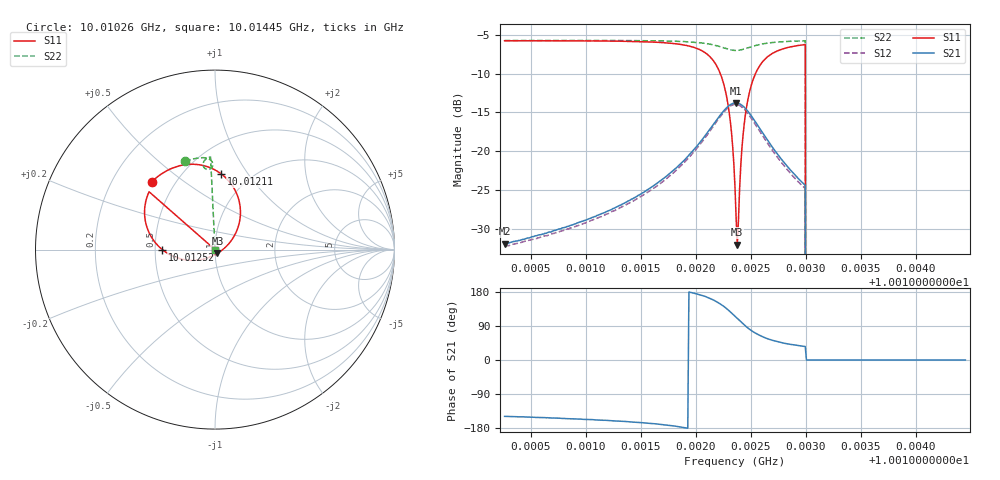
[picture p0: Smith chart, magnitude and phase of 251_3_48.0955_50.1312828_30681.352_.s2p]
#  HZ  S  RI  R  50.00
! Rohde & Schwarz Vector Network Analyzer
! Rohde-Schwarz,ZNB20-2Port,1311601062101988,3.16
! Created: UTC 12/23/2023, 3:59:46 AM
! freq[Hz]  re:S11  im:S11  re:S21  im:S21  re:S12  im:S12  re:S22  im:S22
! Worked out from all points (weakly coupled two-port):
!   401 points, 10.01026 GHz to 10.01445 GHz, reference 50 ohm
!   highest |S21| = -13.76 dB at 10.01237 GHz (marker M1); lowest = -32.0 dB at 10.01026 GHz (marker M2)
!   lowest |S11| = -32.1 dB at 10.01238 GHz (marker M3), VSWR 1.05, Z = 51.3 - j2.15 ohm
!   |S11| at or under -10 dB: 10.01222 GHz to 10.01254 GHz (318.7 kHz wide, 0.00318 % of centre); 10.013 GHz to end of sweep
!   |S22| runs from - to -5.7 dB; largest |S21 - S12| = 0.0099
!   S11 on the Smith chart (normalised r, x): 10.01026 GHz: 0.37, +0.38; 10.01211 GHz: 0.74, +0.76; 10.01252 GHz: 0.55, +0.00; 10.01445 GHz: 1.00, +0.00
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1.0010262e10  -0.3514 0.3791  -0.0216 -0.0131  -0.0201 -0.0137  -0.1658 0.4919
1.0010964e10  -0.2952 0.4237  -0.0322 -0.0142  -0.0301 -0.015  -0.1197 0.5054
1.0011666e10  -0.1841 0.4702  -0.0622 -0.0117  -0.0592 -0.0142  -0.0662 0.5121
1.0011906e10  -0.0963 0.474  -0.0891 -0.00142  -0.0858 -0.00638  -0.0424 0.5085
1.0012106e10  0.036 0.4209  -0.1273 0.0328  -0.1252 0.0254  -0.0198 0.4946
1.00122e10  0.1139 0.3263  -0.1436 0.0764  -0.144 0.067  -0.0123 0.4782
1.0012273e10  0.1415 0.1924  -0.1388 0.1275  -0.1413 0.1191  -0.015 0.4608
1.0012325e10  0.107 0.0754  -0.1127 0.1674  -0.117 0.1594  -0.0254 0.4498
1.0012357e10  0.0571 0.0121  -0.0875 0.1855  -0.0928 0.178  -0.0344 0.4465
1.0012367e10  0.0363 -0.00547  -0.0779 0.1898  -0.083 0.1825  -0.0377 0.4462
1.0012378e10  0.0135 -0.021  -0.0678 0.1931  -0.0731 0.1862  -0.0409 0.4462
1.0012388e10  -0.0107 -0.034  -0.058 0.1954  -0.0624 0.1889  -0.0442 0.4466
1.001242e10  -0.0872 -0.0571  -0.0276 0.1962  -0.0322 0.1899  -0.0531 0.4501
1.0012451e10  -0.1619 -0.0573  0.000294 0.1891  -0.00563 0.1833  -0.0597 0.4561
1.0012483e10  -0.227 -0.0397  0.0232 0.1763  0.0172 0.1707  -0.0642 0.4633
1.0012524e10  -0.2941 0.00045  0.0446 0.1553  0.0378 0.1507  -0.0663 0.473
1.0012682e10  -0.3889 0.1631  0.0656 0.0881  0.0592 0.0865  -0.0561 0.4992
1.0012975e10  -0.3702 0.316  0.05 0.0369  0.0459 0.0375  -0.0267 0.5158
1.0013027e10  0 0  0 0  0 0  0 0
1.0013059e10  0 0  0 0  0 0  0 0
1.001376e10  0 0  0 0  0 0  0 0
1.0014452e10  0 0  0 0  0 0  0 0
